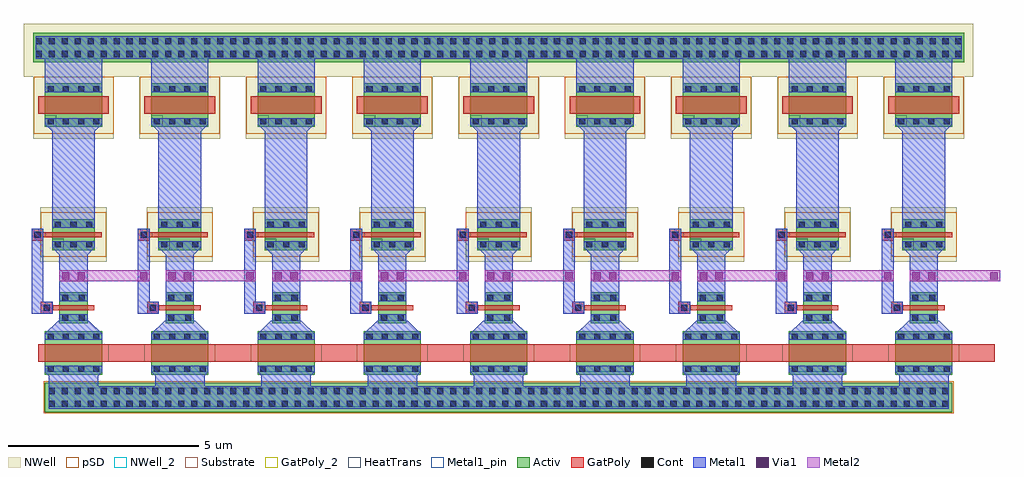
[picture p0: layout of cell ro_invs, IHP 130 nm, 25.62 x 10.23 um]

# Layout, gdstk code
from math import pi, radians
import gdstk
lib = gdstk.Library(unit=1e-6, precision=1e-09)
def R(c, l, rs):  # rectangles x0, y0, x1, y1
    for r in rs: c.add(gdstk.rectangle(r[:2], r[2:], *l))
def A(c, l, x, y, w, h, nx, ny, dx, dy):  # array of equal rectangles
    R(c, l, [(x+i*dx, y+j*dy, x+i*dx+w, y+j*dy+h) for i in range(nx) for j in range(ny)])
def P(c, l, *ps):  # polygons
    for p in ps: c.add(gdstk.Polygon(p, *l))
Activ = (1, 0)
GatPoly = (5, 0)
GatPoly_2 = (5, 2)
Cont = (6, 0)
Metal1 = (8, 0)
Metal1_pin = (8, 2)
Metal2 = (10, 0)
pSD = (14, 0)
Via1 = (19, 0)
NWell = (31, 0)
NWell_2 = (31, 2)
Substrate = (40, 0)
HeatTrans = (51, 0)

pmos = lib.new_cell('pmos')
R(pmos, Activ, [(0,0,0.3,0.3), (0,0,0.81,1.12), (0.51,0,0.81,0.3)])
R(pmos, GatPoly, [(0.34,-0.18,0.47,1.3), (0.34,-0.18,0.47,1.3)])
A(pmos, Cont, 0.07, 0.07, 0.16, 0.16, 1, 3, 0, 0.41)
A(pmos, Cont, 0.58, 0.07, 0.16, 0.16, 1, 3, 0, 0.41)
R(pmos, Metal1, [(0.07,0,0.23,1.12), (0.07,0,0.23,1.12), (0.58,0,0.74,1.12), (0.58,0,0.74,1.12)])
R(pmos, pSD, [(-0.18,-0.3,0.99,1.42)])
R(pmos, NWell, [(-0.31,-0.31,1.12,1.43)])
R(pmos, Substrate, [(0.51,0,0.81,0.3)])
R(pmos, HeatTrans, [(0.34,-0.18,0.47,1.3)])
pmos.add(gdstk.Label('pmos', (0.405,0.56), layer=63, texttype=0))
pmos.add(gdstk.Label('pmos', (0.405,0.56), layer=51, texttype=0))

nmos = lib.new_cell('nmos')
R(nmos, Activ, [(0,0,0.3,0.3), (0,0,0.81,0.74), (0.51,0,0.81,0.3)])
R(nmos, GatPoly, [(0.34,-0.18,0.47,0.92)])
R(nmos, GatPoly_2, [(0.34,-0.18,0.47,0.92)])
R(nmos, Cont, [(0.07,0.07,0.23,0.23), (0.58,0.07,0.74,0.23), (0.07,0.51,0.23,0.67), (0.58,0.51,0.74,0.67)])
R(nmos, Metal1, [(0.07,0,0.23,0.74), (0.58,0,0.74,0.74)])
R(nmos, Metal1_pin, [(0.07,0,0.23,0.74), (0.58,0,0.74,0.74)])
R(nmos, HeatTrans, [(0.34,-0.18,0.47,0.92)])
nmos.add(gdstk.Label('nmos', (0.405,0.37), layer=63, texttype=0))
nmos.add(gdstk.Label('nmos', (0.405,0.37), layer=51, texttype=0))

via1 = lib.new_cell('via1')
R(via1, Via1, [(-0.095,-0.095,0.095,0.095)])

via1_1 = lib.new_cell('via1$1')
R(via1_1, Via1, [(-0.095,-0.095,0.095,0.095)])

pmos_2 = lib.new_cell('pmos$2')
R(pmos_2, Activ, [(0,0,0.3,0.3), (0,0,1.14,1.5), (0.84,0,1.14,0.3)])
R(pmos_2, GatPoly, [(0.34,-0.18,0.8,1.68), (0.34,-0.18,0.8,1.68)])
A(pmos_2, Cont, 0.07, 0.07, 0.16, 0.16, 1, 4, 0, 0.4)
A(pmos_2, Cont, 0.91, 0.07, 0.16, 0.16, 1, 4, 0, 0.4)
R(pmos_2, Metal1, [(0.07,0,0.23,1.5), (0.07,0,0.23,1.5), (0.91,0,1.07,1.5), (0.91,0,1.07,1.5)])
R(pmos_2, pSD, [(-0.18,-0.3,1.32,1.8)])
R(pmos_2, NWell, [(-0.31,-0.31,1.45,1.81)])
R(pmos_2, Substrate, [(0.84,0,1.14,0.3)])
R(pmos_2, HeatTrans, [(0.34,-0.18,0.8,1.68)])
pmos_2.add(gdstk.Label('pmos', (0.57,0.75), layer=63, texttype=0))
pmos_2.add(gdstk.Label('pmos', (0.57,0.75), layer=51, texttype=0))

nmos_2 = lib.new_cell('nmos$2')
R(nmos_2, Activ, [(0,0,0.3,0.3), (0,0,1.14,1.5), (0.84,0,1.14,0.3)])
R(nmos_2, GatPoly, [(0.34,-0.18,0.8,1.68)])
R(nmos_2, GatPoly_2, [(0.34,-0.18,0.8,1.68)])
A(nmos_2, Cont, 0.07, 0.07, 0.16, 0.16, 1, 4, 0, 0.4)
A(nmos_2, Cont, 0.91, 0.07, 0.16, 0.16, 1, 4, 0, 0.4)
R(nmos_2, Metal1, [(0.07,0,0.23,1.5), (0.91,0,1.07,1.5)])
R(nmos_2, Metal1_pin, [(0.07,0,0.23,1.5), (0.91,0,1.07,1.5)])
R(nmos_2, HeatTrans, [(0.34,-0.18,0.8,1.68)])
nmos_2.add(gdstk.Label('nmos', (0.57,0.75), layer=63, texttype=0))
nmos_2.add(gdstk.Label('nmos', (0.57,0.75), layer=51, texttype=0))

ro_inv = lib.new_cell('ro_inv')
R(ro_inv, GatPoly, [(2.48,0.04,2.79,0.35), (3.59,1.83,4.05,2.76)])
P(ro_inv, GatPoly, [(0.56,-0.2),(0.56,0.11),(0.65,0.11),(0.65,0.16),(0.78,0.16),(0.78,0.11),(0.87,0.11),(0.87,-0.2)])
R(ro_inv, Cont, [(0.635,-0.125,0.795,0.035), (2.555,0.115,2.715,0.275)])
R(ro_inv, Metal1, [(-3.995,0.15,-3.185,1.65), (4.42,0.25,4.69,1.55), (-1.995,0.34,0.38,1.46), (1.24,0.53,2.3,1.27)])
P(ro_inv, Metal1, [(0.56,-0.2),(0.56,0.11),(2.48,0.11),(2.48,0.35),(2.79,0.35),(2.79,-0.2)],
  [(1.05,0.34),(1.05,1.46),(1.24,1.27),(1.24,0.53)],
  [(3.32,0.15),(2.97,0.5),(2.97,1.3),(3.32,1.65)],
  [(4.32,0.15),(4.32,1.65),(4.42,1.55),(4.42,0.25)],
  [(-2.185,0.15),(-2.185,1.65),(-1.995,1.46),(-1.995,0.34)])
R(ro_inv, Metal2, [(1.655,0.53,1.945,2.9)])
ro_inv.add(gdstk.Reference(pmos, (0.31,0.34)))
ro_inv.add(gdstk.Reference(nmos, (2.23,0.53)))
r = gdstk.Reference(via1, (1.8,0.695)); r.repetition = gdstk.Repetition(1, 2, v1=(0,0), v2=(0,0.41)); ro_inv.add(r)
ro_inv.add(gdstk.Reference(via1_1, (1.8,2.745)))
ro_inv.add(gdstk.Reference(pmos_2, (-3.255,0.15)))
ro_inv.add(gdstk.Reference(nmos_2, (3.25,0.15)))
ro_inv.add(gdstk.Label('in', (1.6,0.13), layer=8, texttype=25))
ro_inv.add(gdstk.Label('out', (1.655,1.675), layer=10, texttype=0))

ptap1 = lib.new_cell('ptap1')
R(ptap1, Activ, [(0,0,23.82,0.78)])
A(ptap1, Cont, 0.1, 0.14, 0.16, 0.16, 70, 2, 0.34, 0.34)
R(ptap1, Metal1, [(0.1,0.09,23.72,0.69), (0.1,0.14,23.72,0.64)])
R(ptap1, Metal1_pin, [(0.1,0.14,23.72,0.64)])
R(ptap1, pSD, [(-0.03,-0.03,23.85,0.81)])
R(ptap1, Substrate, [(0,0,23.82,0.78)])
ptap1.add(gdstk.Label('sub!', (11.91,0.01), layer=63, texttype=0))
ptap1.add(gdstk.Label('sub!', (11.91,0.01), layer=40, texttype=0))

ntap1 = lib.new_cell('ntap1')
R(ntap1, Activ, [(0,0,24.44,0.78)])
A(ntap1, Cont, 0.07, 0.14, 0.16, 0.16, 72, 2, 0.34, 0.34)
R(ntap1, Metal1, [(0.07,0.09,24.37,0.69)])
R(ntap1, Metal1_pin, [(0.07,0.09,24.37,0.69), (0.07,0.14,24.37,0.64)])
R(ntap1, NWell, [(-0.24,-0.24,24.68,1.02), (0,0,24.44,0.78)])
R(ntap1, NWell_2, [(0,0,24.44,0.78)])
ntap1.add(gdstk.Label('well', (12.22,0.01), layer=63, texttype=0))
ntap1.add(gdstk.Label('well', (12.22,0.01), layer=31, texttype=0))

ro_invs = lib.new_cell('ro_invs')
R(ro_invs, NWell, [(-0.215,5.98,24.705,7.37)])
r = gdstk.Reference(ro_inv, (0.185,2.545), rotation=3*pi/2); r.repetition = gdstk.Repetition(1, 9, v1=(0,0), v2=(2.79,0)); ro_invs.add(r)
ro_invs.add(gdstk.Reference(ptap1, (0.335,-2.835)))
ro_invs.add(gdstk.Reference(ntap1, (0.025,6.35)))

lib.write_gds('ro_invs.gds')
